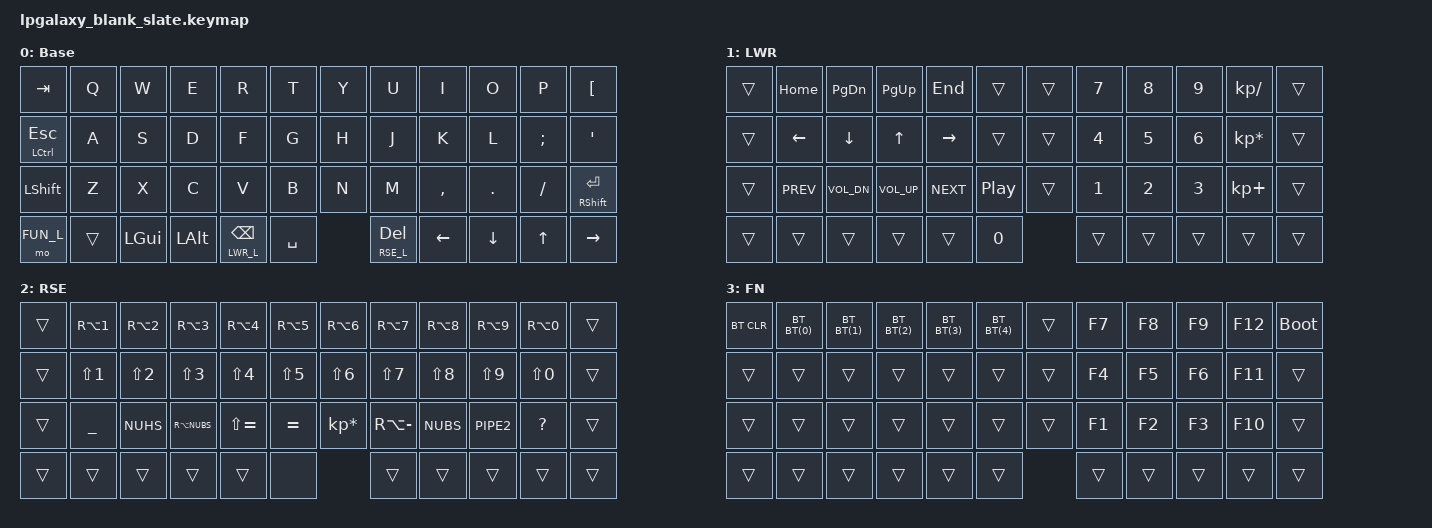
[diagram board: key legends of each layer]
/*
 * Copyright (c) 2022 Pete Johanson
 *
 * SPDX-License-Identifier: MIT
 */

#include <behaviors.dtsi>
#include <dt-bindings/zmk/keys.h>
#include <dt-bindings/zmk/bt.h>
#include <dt-bindings/zmk/outputs.h>

// #define TBLE_ORTHO   1
#define TBLE_MIT     1
// #define TBLE_DUAL_2U 1

#define LWR_L 1
#define RSE_L 2
#define FUN_L  3

// Using layer taps on thumbs, having quick tap as well helps w/ repeating space/backspace
&lt { quick_tap_ms = <200>; };

#define BT(n) BT_SEL n

/ {
    chosen {
       zmk,matrix_transform =
#ifdef TBLE_DUAL_2U
                       &dual_2u_transform;
#elif defined(TBLE_MIT)
                       &mit_transform;
#else
                       &ortho_transform;
#endif
    };

    macros {
      ZMK_MACRO(thumbs_up,
		wait-ms = <1>;
		tap-ms = <5>;
                bindings = <&kp PLUS &kp COLON &kp PLUS &kp N1 &kp COLON &kp RET>;
		)
    };
    
    tap_dances {
    	shifty: shift_caps_word {
		compatible = "zmk,behavior-tap-dance";
		label = "TD_SHIFTY";
		#binding-cells = <0>;
		tapping-term-ms = <150>;
		bindings = <&kp LSHFT>, <&caps_word>;
	};
    };

// Conditional layer 
    cond_layers {
        compatible = "zmk,conditional-layers";
	tri {
	    if-layers = <LWR_L RSE_L>;
	    then-layer = <FUN_L>;
        };
    };

    keymap {
        compatible = "zmk,keymap";
/* Qwerty
┌────────┬────────┬────────┬────────┬────────┬────────┬────────┬────────┬────────┬────────┬────────┬────────┐
|  Tab       Q        W        E        R        T        Y        U        I        O        P        Å
├────────┼────────┼────────┼────────┼────────┼────────┼────────┼────────┼────────┼────────┼────────┼────────┤
|  Ctrl      A        S        D        F        G        H        J        K        L        Ö        Ä
├────────┼────────┼────────┼────────┼────────┼────────┼────────┼────────┼────────┼────────┼────────┼────────┤
|  Shift     Z        X        C        V        B        N        M        ,        .        -       Enter
├────────┼────────┼────────┼────────┼────────┼────────┴────────┼────────┼────────┼────────┼────────┼────────┤
   Adjust   < >      Win       Alt    Lower         Space         Raise    Left     Down     Up       Right
└────────┴────────┴────────┴────────┴────────┴─────────────────┴────────┴────────┴────────┴────────┴────────┘
 */
        base_layer {
            label = "Base";
            bindings = <
 &kp TAB       &kp Q      &kp W      &kp E      &kp R      &kp T      &kp Y     &kp U         &kp I       &kp O      &kp P     &kp LBKT
 &mt LCTRL ESC &kp A      &kp S      &kp D      &kp F      &kp G      &kp H     &kp J         &kp K       &kp L      &kp SEMI  &kp QUOT
 &kp LSHFT     &kp Z      &kp X      &kp C      &kp V      &kp B      &kp N     &kp M         &kp COMMA   &kp DOT    &kp FSLH  &mt RSHFT RET
 &mo FUN_L     &trans     &kp LGUI   &kp LALT   &lt LWR_L BSPC  &kp SPACE       &lt RSE_L DEL &kp LEFT    &kp DOWN   &kp UP    &kp RIGHT
            >;
        };

/* Lower (Num & Nav)
┌────────┬────────┬────────┬────────┬────────┬────────┬────────┬────────┬────────┬────────┬────────┬────────┐
|            Home    PgDn     PgUp     End                         7        8        9        /        
├────────┼────────┼────────┼────────┼────────┼────────┼────────┼────────┼────────┼────────┼────────┼────────┤
|            Left    Down     Up       Right                       4        5        6        *        
├────────┼────────┼────────┼────────┼────────┼────────┼────────┼────────┼────────┼────────┼────────┼────────┤
|            Undo    Cut      Copy     Paste    Redo               1        2        3        +
├────────┼────────┼────────┼────────┼────────┼────────┴────────┼────────┼────────┼────────┼────────┼────────┤
|                                                     0
└────────┴────────┴────────┴────────┴────────┴─────────────────┴────────┴────────┴────────┴────────┴────────┘
 */
        lwr_layer {
            label = "LWR";
            bindings = <
&trans     &kp HOME   &kp PG_DN     &kp PG_UP      &kp END         &trans      &trans     &kp N7       &kp N8      &kp N9     &kp KP_DIVIDE    &trans
&trans     &kp LEFT   &kp DOWN      &kp UP         &kp RIGHT       &trans      &trans     &kp N4       &kp N5      &kp N6     &kp KP_MULTIPLY  &trans
&trans     &kp C_PREV &kp C_VOL_DN  &kp C_VOL_UP   &kp C_NEXT      &kp C_PP    &trans     &kp N1       &kp N2      &kp N3     &kp KP_PLUS      &trans
&trans     &trans     &trans        &trans         &trans               &kp N0            &trans       &trans      &trans     &trans           &trans
            >;
        };

/* Raise (Sym)
┌────────┬────────┬────────┬────────┬────────┬────────┬────────┬────────┬────────┬────────┬────────┬────────┐
|            §        @        £        $        €        ^        {        [        ]        }        \     SWE AltGr numrow (with custom keys in the blanks)
├────────┼────────┼────────┼────────┼────────┼────────┼────────┼────────┼────────┼────────┼────────┼────────┤
|            !        "        #        ¤        %        &        /        (        )        =             SWE shift numrow
├────────┼────────┼────────┼────────┼────────┼────────┼────────┼────────┼────────┼────────┼────────┼────────┤
|            ?        '        ¨        `        ´        *        \        <        >        _              Custom row
├────────┼────────┼────────┼────────┼────────┼────────┴────────┼────────┼────────┼────────┼────────┼────────┤
|
└────────┴────────┴────────┴────────┴────────┴─────────────────┴────────┴────────┴────────┴────────┴────────┘
 */
        rse_layer {
            label = "RSE";
            bindings = <
&trans  &kp RA(N1) &kp RA(N2) &kp RA(N3)   &kp RA(N4)    &kp RA(N5) &kp RA(N6)      &kp RA(N7)    &kp RA(N8) &kp RA(N9) &kp RA(N0) &trans
&trans  &kp LS(N1) &kp LS(N2) &kp LS(N3)   &kp LS(N4)    &kp LS(N5) &kp LS(N6)      &kp LS(N7)    &kp LS(N8) &kp LS(N9) &kp LS(N0) &trans
&trans  &kp UNDER  &kp NUHS   &kp RA(NUBS) &kp LS(EQUAL) &kp EQUAL  &kp KP_ASTERISK &kp RA(MINUS) &kp NUBS   &kp PIPE2  &kp QMARK  &trans
&trans  &trans     &trans     &trans       &trans               &none               &trans        &trans     &trans     &trans     &trans
            >;
        };

/* FN (FN,Bluetooth)
┌────────┬────────┬────────┬────────┬────────┬────────┬────────┬────────┬────────┬────────┬────────┬────────┐
|BT Clear   BT0      BT1      BT2      BT3      BT4                F7       F8       F9      F12
├────────┼────────┼────────┼────────┼────────┼────────┼────────┼────────┼────────┼────────┼────────┼────────┤
|                                                                  F4       F5       F6      F11
├────────┼────────┼────────┼────────┼────────┼────────┼────────┼────────┼────────┼────────┼────────┼────────┤
|                                                                  F1       F2       F3      F10
├────────┼────────┼────────┼────────┼────────┼────────┴────────┼────────┼────────┼────────┼────────┼────────┤
|
└────────┴────────┴────────┴────────┴────────┴─────────────────┴────────┴────────┴────────┴────────┴────────┘
 */
        fun_layer {
            label = "FN";
            bindings = <
&bt BT_CLR &bt BT(0)  &bt BT(1)  &bt BT(2)   &bt BT(3)    &bt BT(4)    &trans     &kp F7    &kp F8       &kp F9       &kp F12     &bootloader
&trans     &trans     &trans     &trans      &trans       &trans       &trans     &kp F4    &kp F5       &kp F6       &kp F11     &trans
&trans     &trans     &trans     &trans      &trans       &trans       &trans     &kp F1    &kp F2       &kp F3       &kp F10     &trans
&trans     &trans     &trans     &trans      &trans            &trans             &trans    &trans       &trans       &trans      &trans
            >;
        };


    };
};

